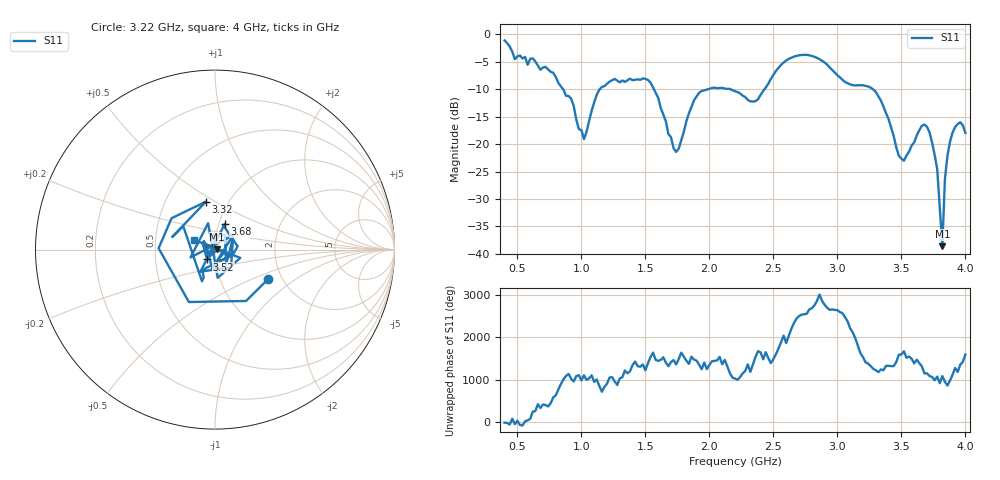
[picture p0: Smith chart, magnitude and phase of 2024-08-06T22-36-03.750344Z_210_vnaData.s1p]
!Created with skrf (http://scikit-rf.org).
# Hz S RI R 50.0
!freq ReS11 ImS11
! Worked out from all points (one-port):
!   181 points, 400 MHz to 4 GHz, reference 50 ohm
!   lowest |S11| = -38.6 dB at 3.82 GHz (marker M1), VSWR 1.02, Z = 51.2 + j0.128 ohm
!   |S11| at or under -10 dB: 857 MHz to 1.144 GHz (287.1 MHz wide, 28.7 % of centre); 1.567 GHz to 1.989 GHz (422.1 MHz wide, 23.7 % of centre); 3.277 GHz to end of sweep (the widest 3 of 4)
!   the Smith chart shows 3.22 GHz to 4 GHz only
!   S11 on the Smith chart (normalised r, x): 3.22 GHz: 1.70, -0.63; 3.32 GHz: 0.79, +0.45; 3.52 GHz: 0.91, -0.10; 3.68 GHz: 1.07, +0.31; 4 GHz: 0.79, +0.08
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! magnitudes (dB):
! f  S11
! 400 MHz  -1.1
! 480 MHz  -4.5
! 620 MHz  -4.4
! 860 MHz  -10.1
! 1.02 GHz  -19.1
! 1.14 GHz  -10.1
! 1.3 GHz  -8.8
! 1.54 GHz  -8.8
! 1.72 GHz  -20.7
! 1.76 GHz  -20.9
! 1.92 GHz  -10.6
! 2.2 GHz  -10.4
! 2.36 GHz  -12.2
! 2.66 GHz  -4.1
! 2.86 GHz  -4.5
! 3.1 GHz  -9.1
! 3.22 GHz  -9.4
! 3.32 GHz  -11.3
! 3.52 GHz  -23.0
! 3.56 GHz  -21.4
! 3.68 GHz  -16.4
! 3.72 GHz  -17.9
! 3.78 GHz  -24.6
! 3.82 GHz  -38.6
! 3.84 GHz  -26.4
! 3.88 GHz  -19.6
! 3.96 GHz  -16.0
! 4 GHz  -18.0
